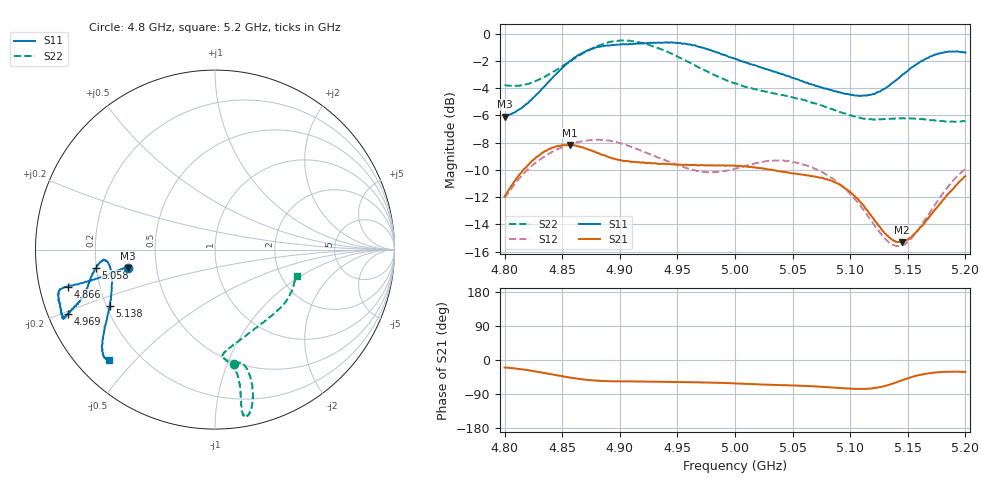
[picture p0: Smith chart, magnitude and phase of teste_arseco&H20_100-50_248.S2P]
! Network Analyzer HP8722D
! Hewlett-Packard
! Data name: Linha & Wilkinson
! Saver's name: Rodrigo Anjos
! Comments: Teste da utilização de aquisição
! continua pelo VNA HP8722D
! Time and date: 6/5/2025 14:38
!  Frequency  S11  S21  S12  S22
# HZ  S  MA R 50
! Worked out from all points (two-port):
!   401 points, 4.8 GHz to 5.2 GHz, reference 50 ohm
!   highest |S21| = -8.17 dB at 4.857 GHz (marker M1); lowest = -15.3 dB at 5.145 GHz (marker M2)
!   |S21| within 3 dB of the highest: 4.806 GHz to 5.092 GHz (286.5 MHz wide, 5.79 % of centre); 5.191584 GHz to end of sweep
!   lowest |S11| = -6.1 dB at 4.8 GHz (marker M3), VSWR 2.97, Z = 17 - j4.58 ohm
!   |S11| at or under -10 dB: nowhere
!   |S22| runs from -6.5 to -0.5 dB; largest |S21 - S12| = 0.62
!   S11 on the Smith chart (normalised r, x): 4.8 GHz: 0.34, -0.09; 4.866 GHz: 0.09, -0.12; 4.969 GHz: 0.06, -0.21; 5.058 GHz: 0.20, -0.07; 5.138 GHz: 0.21, -0.24; 5.2 GHz: 0.09, -0.43
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4.8e9  0.4966 -168.2  0.2521 -19.7  0.2492 -140.9  0.6483 -80.4
4.828e9  0.6007 -167.1  0.3535 -30.7  0.3382 -144.9  0.6747 -75.5
4.857e9  0.7965 -165.9  0.3906 -46.5  0.3927 -150.3  0.7928 -74.8
4.866e9  0.8434 -165.9  0.3833 -50.4  0.4018 -151.9  0.8372 -75.3
4.867e9  0.8483 -165.9  0.3832 -50.9  0.4023 -152.0  0.8432 -75.4
4.881e9  0.8948 -165.3  0.3648 -54.7  0.4086 -154.5  0.9039 -77.0
4.901e9  0.9151 -162.3  0.3428 -56.4  0.3955 -156.8  0.9444 -79.2
4.934e9  0.9276 -156.6  0.3327 -57.5  0.3505 -155.5  0.8833 -80.4
4.951e9  0.9238 -155.6  0.3303 -58.2  0.3282 -152.7  0.8221 -80.0
4.969e9  0.8941 -156.3  0.3283 -59.0  0.3126 -147.3  0.7513 -79.7
5e9  0.8093 -159.0  0.3274 -61.8  0.3195 -137.2  0.6571 -81.2
5.035e9  0.7237 -165.4  0.3145 -65.9  0.3426 -134.3  0.6027 -85.6
5.058e9  0.6711 -171.2  0.304 -68.1  0.3314 -135.9  0.5732 -84.6
5.067e9  0.6502 -173.2  0.3002 -69.2  0.323 -136.8  0.5565 -82.7
5.084e9  0.6203 -174.6  0.2886 -72.4  0.2949 -138.4  0.5295 -76.3
5.101e9  0.5974 -172.0  0.2602 -75.8  0.2551 -138.8  0.5009 -66.6
5.116e9  0.5952 -165.5  0.2204 -75.9  0.2122 -135.5  0.4861 -55.7
5.134e9  0.6454 -154.2  0.1783 -65.2  0.1705 -120.7  0.487 -43.2
5.138e9  0.6657 -151.9  0.1733 -61.2  0.1669 -115.4  0.4874 -40.7
5.145e9  0.704 -148.2  0.1715 -53.3  0.1671 -106.2  0.4884 -37.0
5.173e9  0.8359 -138.9  0.224 -33.3  0.2334 -80.9  0.4812 -24.3
5.2e9  0.8527 -133.6  0.3 -31.4  0.3188 -76.9  0.4777 -17.6
